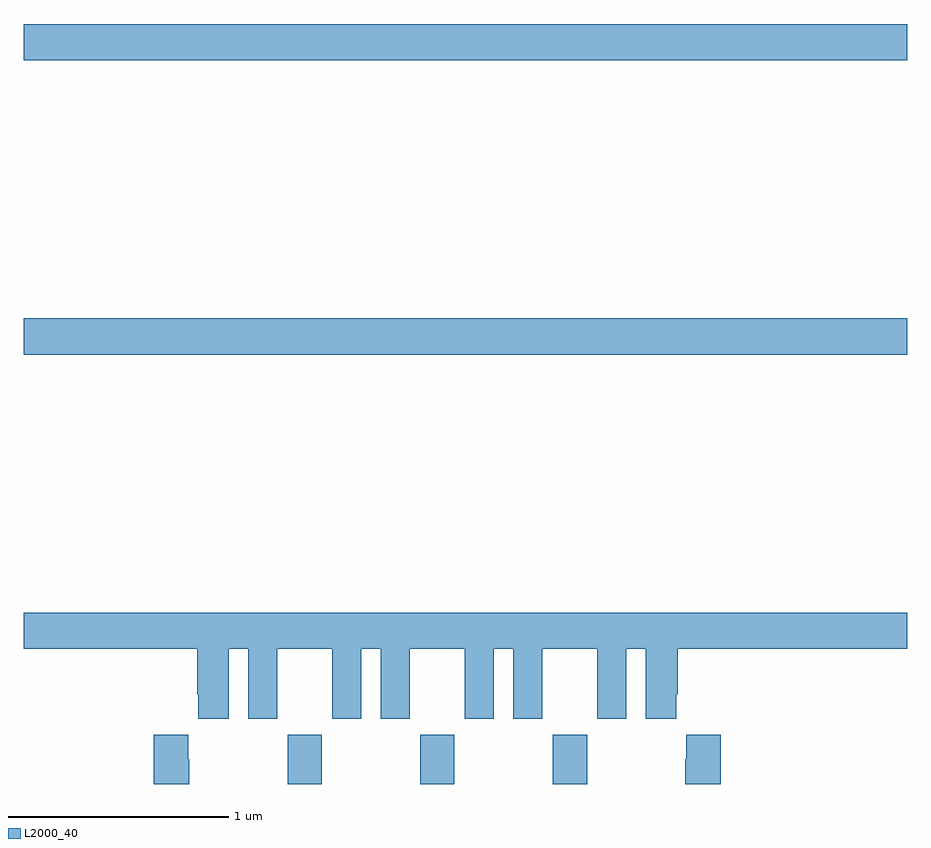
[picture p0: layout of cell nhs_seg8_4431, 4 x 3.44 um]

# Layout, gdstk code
import gdstk
lib = gdstk.Library(unit=1e-6, precision=1e-09)
def R(c, l, rs):  # rectangles x0, y0, x1, y1
    for r in rs: c.add(gdstk.rectangle(r[:2], r[2:], *l))
def A(c, l, x, y, w, h, nx, ny, dx, dy):  # array of equal rectangles
    R(c, l, [(x+i*dx, y+j*dy, x+i*dx+w, y+j*dy+h) for i in range(nx) for j in range(ny)])
def P(c, l, *ps):  # polygons
    for p in ps: c.add(gdstk.Polygon(p, *l))
L2000_40 = (2000, 40)

nhs_seg8_4431 = lib.new_cell('nhs_seg8_4431')
A(nhs_seg8_4431, L2000_40, 382.195, 1103.9, 0.155, 0.224, 3, 1, 0.6, 0)
R(nhs_seg8_4431, L2000_40, [(381,1105.844,385,1106.008), (381,1107.176,385,1107.34)])
P(nhs_seg8_4431, L2000_40, [(381.928,1104.512),(382.016,1104.512),(382.016,1104.195),(382.147,1104.195),(382.147,1104.512),(382.397,1104.512),(382.397,1104.195),(382.528,1104.195),(382.528,1104.512),(382.616,1104.512),(382.616,1104.195),(382.747,1104.195),(382.747,1104.512),(382.997,1104.512),(382.997,1104.195),(383.128,1104.195),(383.128,1104.512),(383.216,1104.512),(383.216,1104.195),(383.347,1104.195),(383.347,1104.512),(383.597,1104.512),(383.597,1104.195),(383.728,1104.195),(383.728,1104.512),(383.816,1104.512),(383.816,1104.195),(383.953,1104.195),(383.953,1104.307),(383.96,1104.307),(383.96,1104.512),(385,1104.512),(385,1104.676),(381,1104.676),(381,1104.512),(381.785,1104.512),(381.785,1104.307),(381.791,1104.307),(381.791,1104.195),(381.928,1104.195)],
  [(384.155,1104.124),(383.999,1104.124),(383.999,1104.011),(383.995,1104.011),(383.995,1103.9),(384.155,1103.9)],
  [(381.75,1104.011),(381.745,1104.011),(381.745,1104.124),(381.59,1104.124),(381.59,1103.9),(381.75,1103.9)])

lib.write_gds('nhs_seg8_4431.gds')
